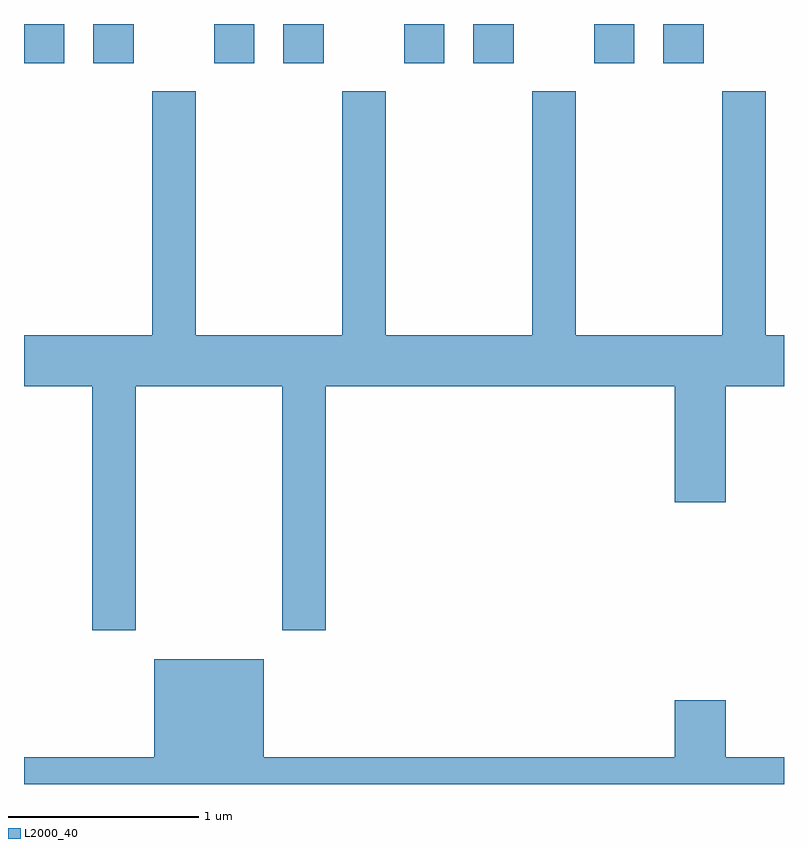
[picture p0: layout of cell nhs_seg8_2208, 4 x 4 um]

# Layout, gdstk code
import gdstk
lib = gdstk.Library(unit=1e-6, precision=1e-09)
def R(c, l, rs):  # rectangles x0, y0, x1, y1
    for r in rs: c.add(gdstk.rectangle(r[:2], r[2:], *l))
def P(c, l, *ps):  # polygons
    for p in ps: c.add(gdstk.Polygon(p, *l))
L2000_40 = (2000, 40)

nhs_seg8_2208 = lib.new_cell('nhs_seg8_2208')
R(nhs_seg8_2208, L2000_40, [(251.611,1818.136,251.824,1818.342), (251.976,1818.136,252.189,1818.342), (252.611,1818.136,252.824,1818.342), (252.976,1818.136,253.189,1818.342), (253.611,1818.136,253.824,1818.342), (253.976,1818.136,254.189,1818.342), (254.611,1818.136,254.824,1818.342), (254.976,1818.136,255.189,1818.342)])
P(nhs_seg8_2208, L2000_40, [(252.199,1816.436),(252.971,1816.436),(252.971,1815.151),(253.199,1815.151),(253.199,1816.436),(255.036,1816.436),(255.036,1815.826),(255.304,1815.826),(255.304,1816.436),(255.611,1816.436),(255.611,1816.704),(255.514,1816.704),(255.514,1817.989),(255.286,1817.989),(255.286,1816.704),(254.514,1816.704),(254.514,1817.989),(254.286,1817.989),(254.286,1816.704),(253.514,1816.704),(253.514,1817.989),(253.286,1817.989),(253.286,1816.704),(252.514,1816.704),(252.514,1817.989),(252.286,1817.989),(252.286,1816.704),(251.611,1816.704),(251.611,1816.436),(251.971,1816.436),(251.971,1815.151),(252.199,1815.151)],
  [(255.611,1814.484),(255.304,1814.484),(255.304,1814.784),(255.036,1814.784),(255.036,1814.484),(252.874,1814.484),(252.874,1814.999),(252.296,1814.999),(252.296,1814.484),(251.611,1814.484),(251.611,1814.342),(255.611,1814.342)])

lib.write_gds('nhs_seg8_2208.gds')
